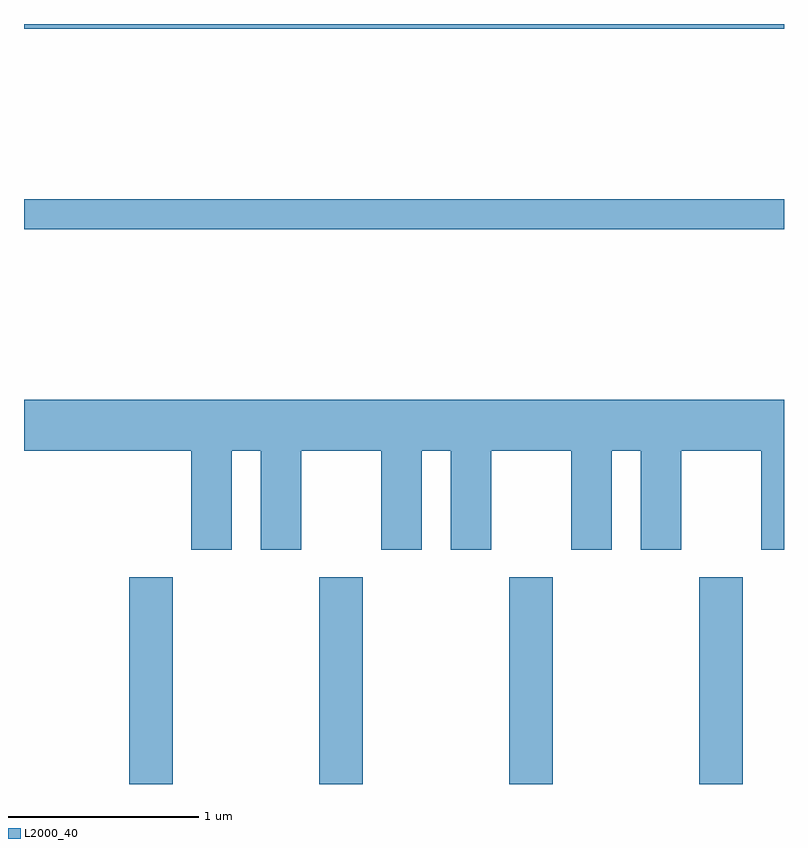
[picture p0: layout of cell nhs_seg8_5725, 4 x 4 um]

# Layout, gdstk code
import gdstk
lib = gdstk.Library(unit=1e-6, precision=1e-09)
def R(c, l, rs):  # rectangles x0, y0, x1, y1
    for r in rs: c.add(gdstk.rectangle(r[:2], r[2:], *l))
def A(c, l, x, y, w, h, nx, ny, dx, dy):  # array of equal rectangles
    R(c, l, [(x+i*dx, y+j*dy, x+i*dx+w, y+j*dy+h) for i in range(nx) for j in range(ny)])
def P(c, l, *ps):  # polygons
    for p in ps: c.add(gdstk.Polygon(p, *l))
L2000_40 = (2000, 40)

nhs_seg8_5725 = lib.new_cell('nhs_seg8_5725')
A(nhs_seg8_5725, L2000_40, 356.166, 1932.342, 0.228, 1.087, 4, 1, 1, 0)
R(nhs_seg8_5725, L2000_40, [(355.611,1935.261,359.611,1935.419), (355.611,1936.316,359.611,1936.342)])
P(nhs_seg8_5725, L2000_40, [(356.704,1934.096),(356.856,1934.096),(356.856,1933.576),(357.069,1933.576),(357.069,1934.096),(357.491,1934.096),(357.491,1933.576),(357.704,1933.576),(357.704,1934.096),(357.856,1934.096),(357.856,1933.576),(358.069,1933.576),(358.069,1934.096),(358.491,1934.096),(358.491,1933.576),(358.704,1933.576),(358.704,1934.096),(358.856,1934.096),(358.856,1933.576),(359.069,1933.576),(359.069,1934.096),(359.491,1934.096),(359.491,1933.576),(359.611,1933.576),(359.611,1934.364),(355.611,1934.364),(355.611,1934.096),(356.491,1934.096),(356.491,1933.576),(356.704,1933.576)])

lib.write_gds('nhs_seg8_5725.gds')
